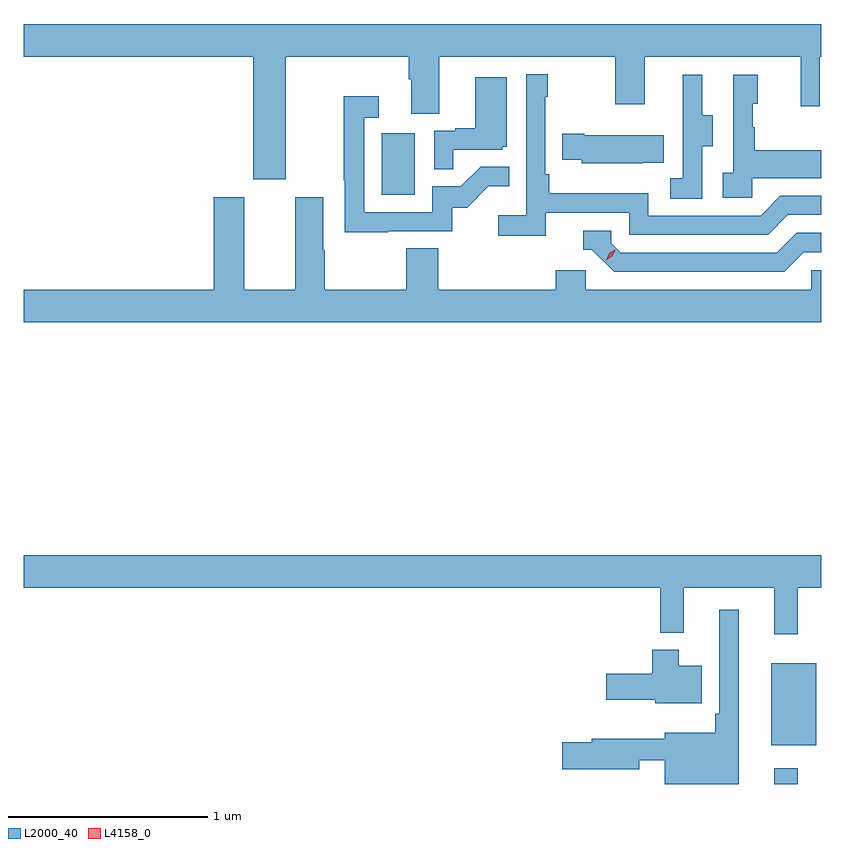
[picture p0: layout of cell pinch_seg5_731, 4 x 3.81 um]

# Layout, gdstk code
import gdstk
lib = gdstk.Library(unit=1e-6, precision=1e-09)
def R(c, l, rs):  # rectangles x0, y0, x1, y1
    for r in rs: c.add(gdstk.rectangle(r[:2], r[2:], *l))
def P(c, l, *ps):  # polygons
    for p in ps: c.add(gdstk.Polygon(p, *l))
L2000_40 = (2000, 40)
L4158_0 = (4158, 0)

pinch_seg5_731 = lib.new_cell('pinch_seg5_731')
R(pinch_seg5_731, L2000_40, [(879.686,906.392,879.803,906.472), (879.671,906.587,879.898,906.997), (877.718,909.348,877.882,909.655)])
P(pinch_seg5_731, L2000_40, [(877.237,910.04),(877.853,910.04),(877.853,909.928),(877.865,909.928),(877.865,909.754),(878.005,909.754),(878.005,910.04),(878.89,910.04),(878.89,909.801),(879.037,909.801),(879.037,910.04),(879.818,910.04),(879.818,909.792),(879.915,909.792),(879.915,910.04),(879.922,910.04),(879.922,910.204),(875.922,910.204),(875.922,910.04),(877.073,910.04),(877.073,909.426),(877.237,909.426)],
  [(878.54,909.258),(878.958,909.258),(878.958,909.147),(879.655,909.147),(879.754,909.246),(879.922,909.246),(879.922,909.342),(879.717,909.342),(879.618,909.243),(879.054,909.243),(879.054,909.355),(878.558,909.355),(878.558,909.451),(878.538,909.451),(878.538,909.839),(878.551,909.839),(878.551,909.952),(878.442,909.952),(878.442,909.244),(878.301,909.244),(878.301,909.142),(878.54,909.142)],
  [(879.324,909.592),(879.379,909.592),(879.379,909.747),(879.325,909.747),(879.325,909.949),(879.227,909.949),(879.227,909.735),(879.228,909.735),(879.228,909.431),(879.165,909.431),(879.165,909.328),(879.324,909.328)],
  [(879.576,909.431),(879.922,909.431),(879.922,909.571),(879.589,909.571),(879.589,909.686),(879.579,909.686),(879.579,909.804),(879.604,909.804),(879.604,909.949),(879.48,909.949),(879.48,909.458),(879.429,909.458),(879.429,909.333),(879.576,909.333)],
  [(878.075,909.573),(878.322,909.573),(878.322,909.588),(878.344,909.588),(878.344,909.937),(878.186,909.937),(878.186,909.682),(878.087,909.682),(878.087,909.669),(877.98,909.669),(877.98,909.475),(878.075,909.475)],
  [(877.751,909.165),(878.07,909.165),(878.07,909.282),(878.146,909.282),(878.253,909.389),(878.357,909.389),(878.357,909.488),(878.213,909.488),(878.115,909.39),(877.971,909.39),(877.971,909.261),(877.629,909.261),(877.629,909.735),(877.702,909.735),(877.702,909.841),(877.528,909.841),(877.528,909.421),(877.533,909.421),(877.533,909.16),(877.751,909.16)],
  [(879.023,909.509),(879.131,909.509),(879.131,909.646),(878.734,909.646),(878.734,909.654),(878.623,909.654),(878.623,909.524),(878.721,909.524),(878.721,909.506),(879.023,909.506)],
  [(877.423,909.068),(877.423,909.334),(877.283,909.334),(877.283,908.872),(877.027,908.872),(877.027,909.334),(876.875,909.334),(876.875,908.872),(875.922,908.872),(875.922,908.708),(879.922,908.708),(879.922,908.97),(879.873,908.97),(879.873,908.872),(878.742,908.872),(878.742,908.97),(878.591,908.97),(878.591,908.872),(878,908.872),(878,909.08),(877.84,909.08),(877.84,908.872),(877.431,908.872),(877.431,909.068)],
  [(879.835,909.06),(879.922,909.06),(879.922,909.156),(879.798,909.156),(879.699,909.057),(878.916,909.057),(878.868,909.105),(878.868,909.168),(878.729,909.168),(878.729,909.072),(878.772,909.072),(878.883,908.961),(879.736,908.961)],
  [(879.803,907.376),(879.922,907.376),(879.922,907.54),(875.922,907.54),(875.922,907.376),(879.115,907.376),(879.115,907.151),(879.233,907.151),(879.233,907.376),(879.686,907.376),(879.686,907.143),(879.803,907.143)],
  [(879.508,907.267),(879.411,907.267),(879.411,906.745),(879.391,906.745),(879.391,906.649),(879.137,906.649),(879.137,906.62),(878.771,906.62),(878.771,906.602),(878.622,906.602),(878.622,906.467),(879.01,906.467),(879.01,906.51),(879.138,906.51),(879.138,906.392),(879.508,906.392)],
  [(879.322,906.985),(879.208,906.985),(879.208,907.066),(879.074,907.066),(879.074,906.945),(878.844,906.945),(878.844,906.815),(879.09,906.815),(879.09,906.797),(879.322,906.797)])
P(pinch_seg5_731, L4158_0, [(878.843,909.02),(878.843,909.02),(878.859,909.053),(878.89,909.072),(878.89,909.072),(878.89,909.072),(878.874,909.04),(878.844,909.02)])

lib.write_gds('pinch_seg5_731.gds')
